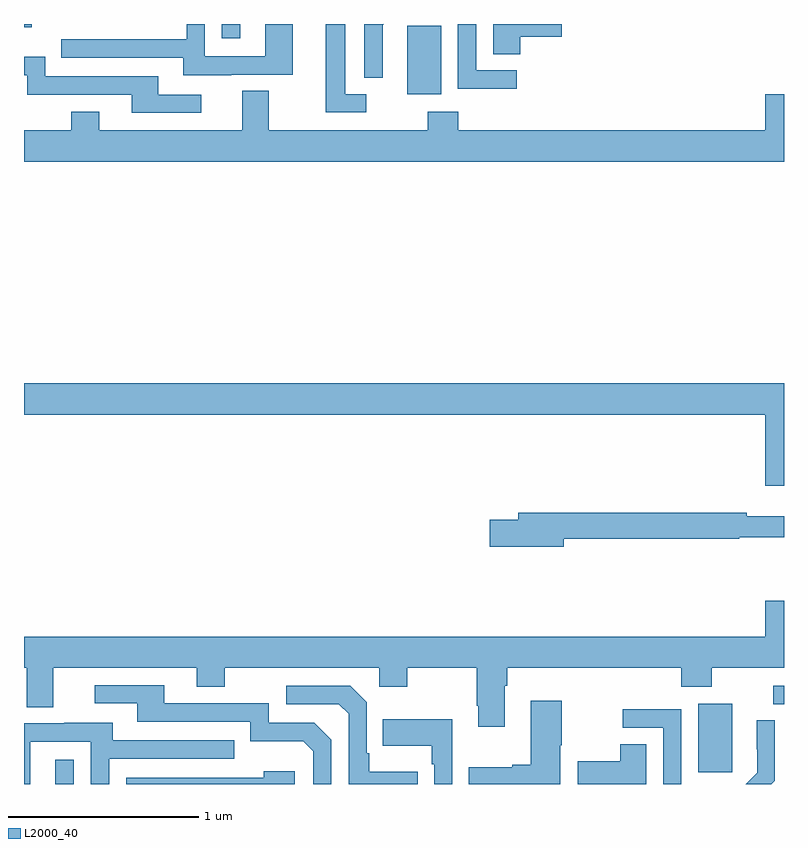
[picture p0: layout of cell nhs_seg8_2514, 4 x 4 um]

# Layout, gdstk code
import gdstk
lib = gdstk.Library(unit=1e-6, precision=1e-09)
def R(c, l, rs):  # rectangles x0, y0, x1, y1
    for r in rs: c.add(gdstk.rectangle(r[:2], r[2:], *l))
def P(c, l, *ps):  # polygons
    for p in ps: c.add(gdstk.Polygon(p, *l))
L2000_40 = (2000, 40)

nhs_seg8_2514 = lib.new_cell('nhs_seg8_2514')
R(nhs_seg8_2514, L2000_40, [(269.165,1103.9,269.262,1104.028), (272.549,1103.961,272.728,1104.322), (272.943,1104.321,273,1104.417), (271.016,1107.53,271.195,1107.891), (270.042,1107.825,270.139,1107.9), (269,1107.884,269.042,1107.9)])
P(nhs_seg8_2514, L2000_40, [(270.091,1107.633),(270.415,1107.633),(270.415,1107.9),(270.27,1107.9),(270.27,1107.729),(269.952,1107.729),(269.952,1107.9),(269.856,1107.9),(269.856,1107.819),(269.197,1107.819),(269.197,1107.723),(269.837,1107.723),(269.837,1107.629),(270.091,1107.629)],
  [(271.594,1107.657),(271.38,1107.657),(271.38,1107.9),(271.284,1107.9),(271.284,1107.559),(271.594,1107.559)],
  [(270.888,1107.77),(270.887,1107.77),(270.887,1107.893),(270.894,1107.9),(270.792,1107.9),(270.792,1107.616),(270.888,1107.616)],
  [(270.802,1107.531),(270.691,1107.531),(270.691,1107.9),(270.587,1107.9),(270.587,1107.435),(270.802,1107.435)],
  [(271.613,1107.833),(271.831,1107.833),(271.831,1107.9),(271.469,1107.9),(271.469,1107.742),(271.613,1107.742)],
  [(269.932,1107.528),(269.707,1107.528),(269.707,1107.624),(269.112,1107.624),(269.112,1107.727),(269,1107.727),(269,1107.63),(269.016,1107.63),(269.016,1107.528),(269.567,1107.528),(269.567,1107.432),(269.932,1107.432)],
  [(273,1107.529),(272.9,1107.529),(272.9,1107.34),(271.286,1107.34),(271.286,1107.439),(271.126,1107.439),(271.126,1107.34),(270.289,1107.34),(270.289,1107.548),(270.149,1107.548),(270.149,1107.34),(269.395,1107.34),(269.395,1107.439),(269.248,1107.439),(269.248,1107.34),(269,1107.34),(269,1107.176),(273,1107.176)],
  [(273,1106.008),(269,1106.008),(269,1105.844),(272.9,1105.844),(272.9,1105.47),(273,1105.47)],
  [(271.84,1105.192),(272.765,1105.192),(272.765,1105.2),(273,1105.2),(273,1105.309),(272.804,1105.309),(272.804,1105.328),(271.601,1105.328),(271.601,1105.292),(271.452,1105.292),(271.452,1105.15),(271.84,1105.15)],
  [(271.531,1104.416),(271.544,1104.416),(271.544,1104.512),(272.459,1104.512),(272.459,1104.413),(272.619,1104.413),(272.619,1104.512),(273,1104.512),(273,1104.865),(272.9,1104.865),(272.9,1104.676),(269,1104.676),(269,1104.512),(269.015,1104.512),(269.015,1104.304),(269.155,1104.304),(269.155,1104.512),(269.909,1104.512),(269.909,1104.413),(270.057,1104.413),(270.057,1104.512),(270.87,1104.512),(270.87,1104.413),(271.017,1104.413),(271.017,1104.512),(271.384,1104.512),(271.384,1104.313),(271.391,1104.313),(271.391,1104.201),(271.531,1104.201)],
  [(270.618,1104.132),(270.528,1104.222),(270.288,1104.222),(270.288,1104.324),(269.737,1104.324),(269.737,1104.42),(269.373,1104.42),(269.373,1104.324),(269.597,1104.324),(269.597,1104.228),(270.192,1104.228),(270.192,1104.125),(270.469,1104.125),(270.522,1104.072),(270.522,1103.9),(270.618,1103.9)],
  [(271.073,1103.965),(270.817,1103.965),(270.817,1104.061),(270.804,1104.061),(270.804,1104.33),(270.717,1104.417),(270.381,1104.417),(270.381,1104.321),(270.657,1104.321),(270.708,1104.27),(270.708,1103.9),(271.073,1103.9)],
  [(271.822,1104.103),(271.83,1104.103),(271.83,1104.337),(271.667,1104.337),(271.667,1104.002),(271.571,1104.002),(271.571,1103.989),(271.341,1103.989),(271.341,1103.9),(271.822,1103.9)],
  [(272.46,1104.294),(272.151,1104.294),(272.151,1104.195),(272.364,1104.195),(272.364,1103.9),(272.46,1103.9)],
  [(271.254,1104.241),(270.889,1104.241),(270.889,1104.101),(271.146,1104.101),(271.146,1104.005),(271.158,1104.005),(271.158,1103.9),(271.254,1103.9)],
  [(272.952,1103.918),(272.952,1104.236),(272.856,1104.236),(272.856,1104.082),(272.858,1104.082),(272.858,1103.96),(272.798,1103.9),(272.934,1103.9)],
  [(269.034,1104.123),(269.352,1104.123),(269.352,1103.9),(269.448,1103.9),(269.448,1104.033),(270.107,1104.033),(270.107,1104.129),(269.467,1104.129),(269.467,1104.223),(269.213,1104.223),(269.213,1104.219),(269,1104.219),(269,1103.9),(269.034,1103.9)],
  [(272.275,1104.11),(272.137,1104.11),(272.137,1104.02),(271.914,1104.02),(271.914,1103.9),(272.275,1103.9)],
  [(270.424,1103.968),(270.263,1103.968),(270.263,1103.934),(269.538,1103.934),(269.538,1103.9),(270.424,1103.9)])

lib.write_gds('nhs_seg8_2514.gds')
